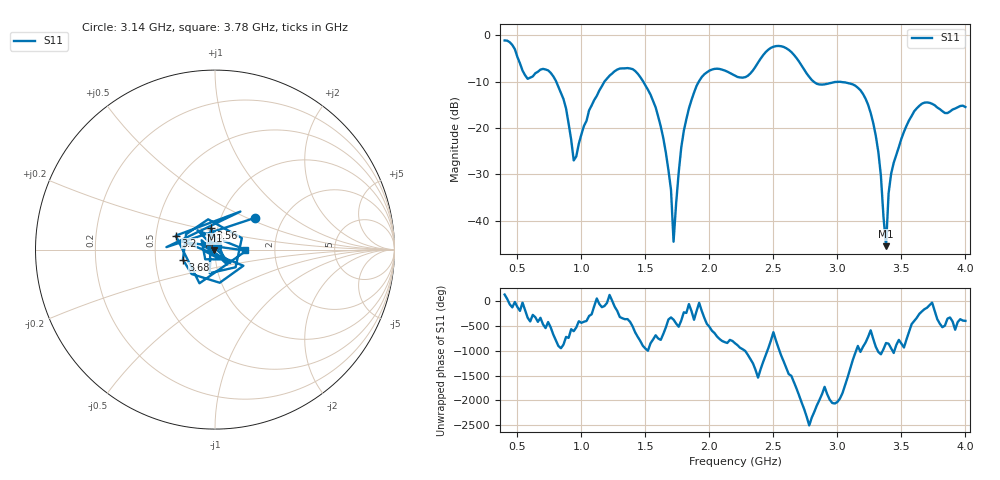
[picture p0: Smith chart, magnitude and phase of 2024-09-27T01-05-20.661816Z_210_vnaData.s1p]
!Created with skrf (http://scikit-rf.org).
# Hz S RI R 50.0
!freq ReS11 ImS11
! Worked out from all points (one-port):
!   181 points, 400 MHz to 4 GHz, reference 50 ohm
!   lowest |S11| = -45.4 dB at 3.38 GHz (marker M1), VSWR 1.01, Z = 49.7 - j0.44 ohm
!   |S11| at or under -10 dB: 802.8 MHz to 1.18 GHz (377.4 MHz wide, 38.1 % of centre); 1.482 GHz to 1.918 GHz (435.6 MHz wide, 25.6 % of centre); 2.814 GHz to end of sweep
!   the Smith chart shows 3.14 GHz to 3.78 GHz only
!   S11 on the Smith chart (normalised r, x): 3.14 GHz: 1.45, +0.56; 3.2 GHz: 0.63, +0.10; 3.56 GHz: 0.93, +0.22; 3.68 GHz: 0.69, -0.08; 3.78 GHz: 1.40, -0.01
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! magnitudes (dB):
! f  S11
! 400 MHz  -1.2
! 580 MHz  -9.4
! 740 MHz  -7.6
! 860 MHz  -13.8
! 940 MHz  -27.0
! 1.1 GHz  -14.0
! 1.3 GHz  -7.2
! 1.58 GHz  -15.6
! 1.68 GHz  -29.1
! 1.7 GHz  -33.3
! 1.72 GHz  -44.5
! 1.76 GHz  -29.6
! 1.82 GHz  -18.1
! 1.92 GHz  -9.9
! 2.2 GHz  -8.7
! 2.66 GHz  -4.2
! 2.84 GHz  -10.5
! 3.1 GHz  -10.5
! 3.14 GHz  -10.9
! 3.2 GHz  -12.7
! 3.32 GHz  -25.2
! 3.38 GHz  -45.4
! 3.4 GHz  -34.0
! 3.42 GHz  -29.8
! 3.56 GHz  -18.3
! 3.68 GHz  -14.6
! 3.78 GHz  -15.6
! 4 GHz  -15.5
